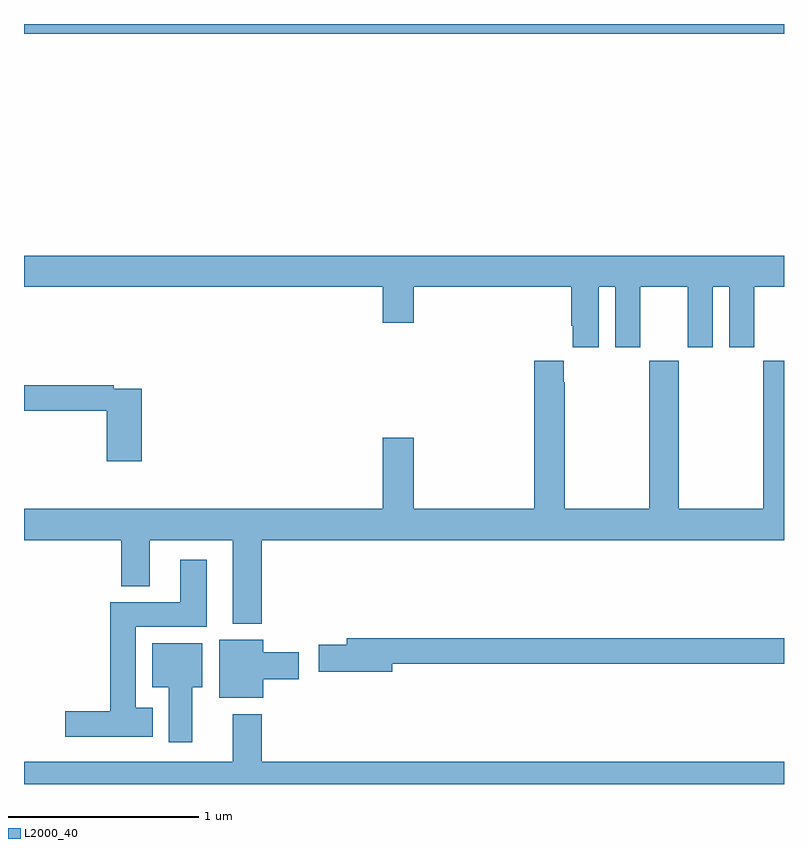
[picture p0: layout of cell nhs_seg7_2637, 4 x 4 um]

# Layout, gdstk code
import gdstk
lib = gdstk.Library(unit=1e-6, precision=1e-09)
def R(c, l, rs):  # rectangles x0, y0, x1, y1
    for r in rs: c.add(gdstk.rectangle(r[:2], r[2:], *l))
def P(c, l, *ps):  # polygons
    for p in ps: c.add(gdstk.Polygon(p, *l))
L2000_40 = (2000, 40)

nhs_seg7_2637 = lib.new_cell('nhs_seg7_2637')
R(nhs_seg7_2637, L2000_40, [(283,1001.948,287,1002)])
P(nhs_seg7_2637, L2000_40, [(286.024,1000.616),(286.112,1000.616),(286.112,1000.299),(286.243,1000.299),(286.243,1000.616),(286.493,1000.616),(286.493,1000.299),(286.624,1000.299),(286.624,1000.616),(286.712,1000.616),(286.712,1000.299),(286.843,1000.299),(286.843,1000.616),(287,1000.616),(287,1000.78),(283,1000.78),(283,1000.616),(284.888,1000.616),(284.888,1000.428),(285.052,1000.428),(285.052,1000.616),(285.881,1000.616),(285.881,1000.411),(285.887,1000.411),(285.887,1000.299),(286.024,1000.299)],
  [(284.252,999.284),(287,999.284),(287,1000.228),(286.891,1000.228),(286.891,999.448),(286.446,999.448),(286.446,1000.228),(286.291,1000.228),(286.291,999.448),(285.846,999.448),(285.846,1000.115),(285.841,1000.115),(285.841,1000.228),(285.686,1000.228),(285.686,999.448),(285.052,999.448),(285.052,999.823),(284.888,999.823),(284.888,999.448),(283,999.448),(283,999.284),(283.511,999.284),(283.511,999.041),(283.663,999.041),(283.663,999.284),(284.099,999.284),(284.099,998.843),(284.252,998.843)],
  [(283.619,1000.08),(283.472,1000.08),(283.472,1000.1),(283,1000.1),(283,999.964),(283.436,999.964),(283.436,999.699),(283.619,999.699)],
  [(283.678,998.401),(283.588,998.401),(283.588,998.828),(283.963,998.828),(283.963,999.181),(283.823,999.181),(283.823,998.956),(283.454,998.956),(283.454,998.384),(283.218,998.384),(283.218,998.249),(283.678,998.249)],
  [(284.938,998.632),(287,998.632),(287,998.768),(284.699,998.768),(284.699,998.732),(284.55,998.732),(284.55,998.59),(284.938,998.59)],
  [(284.26,998.551),(284.446,998.551),(284.446,998.693),(284.26,998.693),(284.26,998.758),(284.027,998.758),(284.027,998.453),(284.26,998.453)],
  [(283.885,998.51),(283.939,998.51),(283.939,998.74),(283.676,998.74),(283.676,998.51),(283.763,998.51),(283.763,998.22),(283.885,998.22)],
  [(287,998.116),(284.252,998.116),(284.252,998.368),(284.099,998.368),(284.099,998.116),(283,998.116),(283,998),(287,998)])

lib.write_gds('nhs_seg7_2637.gds')
